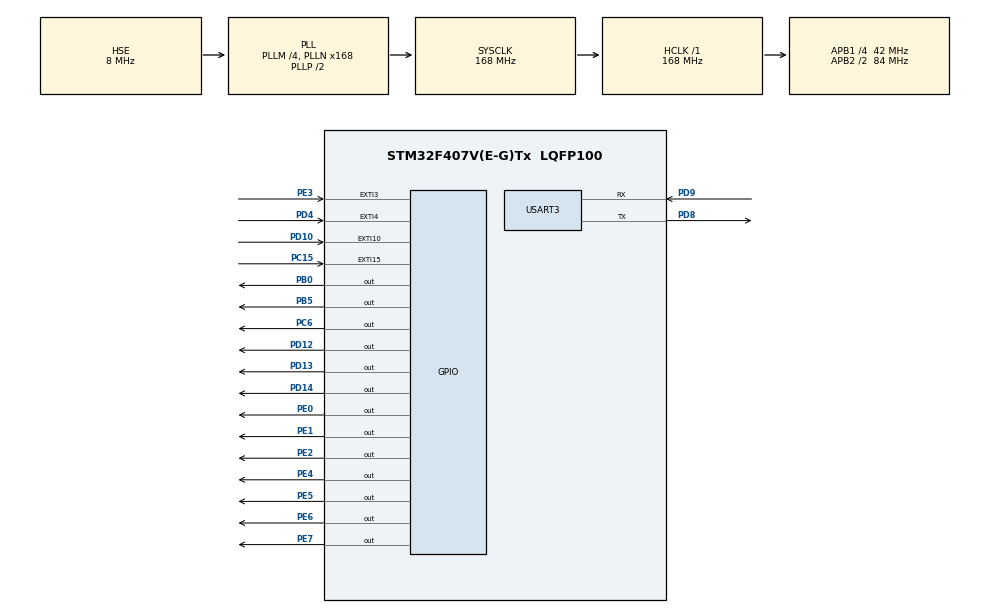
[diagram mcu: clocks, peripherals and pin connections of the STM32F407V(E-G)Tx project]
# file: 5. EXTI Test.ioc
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Mcu.Family=STM32F4
Mcu.Name=STM32F407V(E-G)Tx
Mcu.Package=LQFP100
NVIC.EXTI15_10_IRQn=true\:0\:0\:false\:true\:true\:5\:true
NVIC.EXTI3_IRQn=true\:0\:0\:false\:true\:true\:3\:true
NVIC.EXTI4_IRQn=true\:0\:0\:false\:true\:true\:4\:true
NVIC.PriorityGroup=NVIC_PRIORITYGROUP_4
NVIC.TIM7_IRQn=true\:0\:0\:false\:true\:true\:2\:true
NVIC.USART3_IRQn=true\:0\:0\:false\:true\:true\:1\:true
PB0.Signal=GPIO_Output
PB5.Signal=GPIO_Output
PC15-OSC32_OUT.GPIO_ModeDefaultEXTI=GPIO_MODE_IT_RISING
PC15-OSC32_OUT.Signal=GPXTI15
PC6.Signal=GPIO_Output
PD10.Signal=GPXTI10
PD12.Signal=GPIO_Output
PD13.Signal=GPIO_Output
PD14.Signal=GPIO_Output
PD4.Signal=GPXTI4
PD8.Mode=Asynchronous
PD8.Signal=USART3_TX
PD9.Mode=Asynchronous
PD9.Signal=USART3_RX
PE0.Signal=GPIO_Output
PE1.Signal=GPIO_Output
PE2.Signal=GPIO_Output
PE3.Signal=GPXTI3
PE4.Signal=GPIO_Output
PE5.Signal=GPIO_Output
PE6.Signal=GPIO_Output
PE7.Signal=GPIO_Output
PH0-OSC_IN.Mode=HSE-External-Oscillator
PH0-OSC_IN.Signal=RCC_OSC_IN
PH1-OSC_OUT.Mode=HSE-External-Oscillator
PH1-OSC_OUT.Signal=RCC_OSC_OUT
ProjectManager.HeapSize=0x200
ProjectManager.StackSize=0x400
ProjectManager.TargetToolchain=TrueSTUDIO
RCC.48MHZClocksFreq_Value=84000000
RCC.AHBFreq_Value=168000000
RCC.APB1CLKDivider=RCC_HCLK_DIV4
RCC.APB1Freq_Value=42000000
RCC.APB1TimFreq_Value=84000000
RCC.APB2CLKDivider=RCC_HCLK_DIV2
RCC.APB2Freq_Value=84000000
RCC.APB2TimFreq_Value=168000000
RCC.CortexFreq_Value=168000000
RCC.HCLKFreq_Value=168000000
RCC.HSE_VALUE=8000000
RCC.HSI_VALUE=16000000
RCC.LSE_VALUE=32768
RCC.PLLM=4
RCC.PLLN=168
RCC.PLLSourceVirtual=RCC_PLLSOURCE_HSE
RCC.SYSCLKFreq_VALUE=168000000
RCC.SYSCLKSource=RCC_SYSCLKSOURCE_PLLCLK
RCC.VCOOutputFreq_Value=336000000
TIM7.Period=8399
TIM7.Prescaler=9999
USART3.VirtualMode=VM_ASYNC
VP_TIM7_VS_ClockSourceINT.Mode=Enable_Timer
board=custom

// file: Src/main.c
/**
  ******************************************************************************
  * @file           : main.c
  * @brief          : Main program body
  ******************************************************************************
  ** This notice applies to any and all portions of this file
  * that are not between comment pairs USER CODE BEGIN and
  * USER CODE END. Other portions of this file, whether
  * inserted by the user or by software development tools
  * are owned by their respective copyright owners.
  *
  * COPYRIGHT(c) 2018 STMicroelectronics
  *
  * Redistribution and use in source and binary forms, with or without modification,
  * are permitted provided that the following conditions are met:
  *   1. Redistributions of source code must retain the above copyright notice,
  *      this list of conditions and the following disclaimer.
  *   2. Redistributions in binary form must reproduce the above copyright notice,
  *      this list of conditions and the following disclaimer in the documentation
  *      and/or other materials provided with the distribution.
  *   3. Neither the name of STMicroelectronics nor the names of its contributors
  *      may be used to endorse or promote products derived from this software
  *      without specific prior written permission.
  *
  * THIS SOFTWARE IS PROVIDED BY THE COPYRIGHT HOLDERS AND CONTRIBUTORS "AS IS"
  * AND ANY EXPRESS OR IMPLIED WARRANTIES, INCLUDING, BUT NOT LIMITED TO, THE
  * IMPLIED WARRANTIES OF MERCHANTABILITY AND FITNESS FOR A PARTICULAR PURPOSE ARE
  * DISCLAIMED. IN NO EVENT SHALL THE COPYRIGHT HOLDER OR CONTRIBUTORS BE LIABLE
  * FOR ANY DIRECT, INDIRECT, INCIDENTAL, SPECIAL, EXEMPLARY, OR CONSEQUENTIAL
  * DAMAGES (INCLUDING, BUT NOT LIMITED TO, PROCUREMENT OF SUBSTITUTE GOODS OR
  * SERVICES; LOSS OF USE, DATA, OR PROFITS; OR BUSINESS INTERRUPTION) HOWEVER
  * CAUSED AND ON ANY THEORY OF LIABILITY, WHETHER IN CONTRACT, STRICT LIABILITY,
  * OR TORT (INCLUDING NEGLIGENCE OR OTHERWISE) ARISING IN ANY WAY OUT OF THE USE
  * OF THIS SOFTWARE, EVEN IF ADVISED OF THE POSSIBILITY OF SUCH DAMAGE.
  *
  ******************************************************************************
  */
#include "main.h"
#include "stm32f4xx_hal.h"
#include "tim.h"
#include "usart.h"
#include "gpio.h"

/* USER CODE BEGIN Includes */
#include "CLCD.h"
#include <stdio.h>
#include "7SEG.h"
/* USER CODE END Includes */

/* USER CODE BEGIN PV */
/* Private variables ---------------------------------------------------------*/
uint8_t rx3_data;
/* USER CODE END PV */

void SystemClock_Config(void);
static void MX_NVIC_Init(void);

/* USER CODE BEGIN PFP */
/* Private function prototypes -----------------------------------------------*/
int _write(int file, char* p, int len)
{
	HAL_UART_Transmit(&huart3, p, len, 10);
	return len;
}
/* USER CODE END PFP */

int main(void)
{

  /* MCU Configuration----------------------------------------------------------*/

  /* Reset of all peripherals, Initializes the Flash interface and the Systick. */
  HAL_Init();

  /* Configure the system clock */
  SystemClock_Config();

  /* Initialize all configured peripherals */
  MX_GPIO_Init();
  MX_USART3_UART_Init();
  MX_TIM7_Init();

  /* Initialize interrupts */
  MX_NVIC_Init();
  /* USER CODE BEGIN 2 */
	HAL_GPIO_WritePin(GPIOC, GPIO_PIN_6, GPIO_PIN_SET);
	HAL_GPIO_WritePin(GPIOB, GPIO_PIN_0, GPIO_PIN_SET);
	HAL_GPIO_WritePin(GPIOB, GPIO_PIN_5, GPIO_PIN_SET);

	HAL_GPIO_WritePin(GPIOD, GPIO_PIN_12, GPIO_PIN_SET);
	HAL_GPIO_WritePin(GPIOD, GPIO_PIN_13, GPIO_PIN_SET);
	HAL_GPIO_WritePin(GPIOD, GPIO_PIN_14, GPIO_PIN_SET);

	HAL_UART_Receive_IT(&huart3, &rx3_data, 1);
	HAL_TIM_Base_Start_IT(&htim7);

	CLCD_GPIO_Init();
	CLCD_Init();
	CLCD_Puts(0, 0, "Welcome to");
	CLCD_Puts(0, 1, "M-HIVE");
	CLCD_Clear();

	_7SEG_GPIO_Init();
  /* USER CODE END 2 */

  /* Infinite loop */
  /* USER CODE BEGIN WHILE */
	uint8_t a = 0;
	float f = 1.234;
	uint8_t str[20];
  while (1)
  {
  /* USER CODE END WHILE */

  }

}

void SystemClock_Config(void)
{

  RCC_OscInitTypeDef RCC_OscInitStruct;
  RCC_ClkInitTypeDef RCC_ClkInitStruct;

    /**Configure the main internal regulator output voltage
    */
  __HAL_RCC_PWR_CLK_ENABLE();

  __HAL_PWR_VOLTAGESCALING_CONFIG(PWR_REGULATOR_VOLTAGE_SCALE1);

    /**Initializes the CPU, AHB and APB busses clocks
    */
  RCC_OscInitStruct.OscillatorType = RCC_OSCILLATORTYPE_HSE;
  RCC_OscInitStruct.HSEState = RCC_HSE_ON;
  RCC_OscInitStruct.PLL.PLLState = RCC_PLL_ON;
  RCC_OscInitStruct.PLL.PLLSource = RCC_PLLSOURCE_HSE;
  RCC_OscInitStruct.PLL.PLLM = 4;
  RCC_OscInitStruct.PLL.PLLN = 168;
  RCC_OscInitStruct.PLL.PLLP = RCC_PLLP_DIV2;
  RCC_OscInitStruct.PLL.PLLQ = 4;
  if (HAL_RCC_OscConfig(&RCC_OscInitStruct) != HAL_OK)
  {
    _Error_Handler(__FILE__, __LINE__);
  }

    /**Initializes the CPU, AHB and APB busses clocks
    */
  RCC_ClkInitStruct.ClockType = RCC_CLOCKTYPE_HCLK|RCC_CLOCKTYPE_SYSCLK
                              |RCC_CLOCKTYPE_PCLK1|RCC_CLOCKTYPE_PCLK2;
  RCC_ClkInitStruct.SYSCLKSource = RCC_SYSCLKSOURCE_PLLCLK;
  RCC_ClkInitStruct.AHBCLKDivider = RCC_SYSCLK_DIV1;
  RCC_ClkInitStruct.APB1CLKDivider = RCC_HCLK_DIV4;
  RCC_ClkInitStruct.APB2CLKDivider = RCC_HCLK_DIV2;

  if (HAL_RCC_ClockConfig(&RCC_ClkInitStruct, FLASH_LATENCY_5) != HAL_OK)
  {
    _Error_Handler(__FILE__, __LINE__);
  }

    /**Configure the Systick interrupt time
    */
  HAL_SYSTICK_Config(HAL_RCC_GetHCLKFreq()/1000);

    /**Configure the Systick
    */
  HAL_SYSTICK_CLKSourceConfig(SYSTICK_CLKSOURCE_HCLK);

  /* SysTick_IRQn interrupt configuration */
  HAL_NVIC_SetPriority(SysTick_IRQn, 0, 0);
}

/**
  * @brief NVIC Configuration.
  * @retval None
  */
static void MX_NVIC_Init(void)
{
  /* USART3_IRQn interrupt configuration */
  HAL_NVIC_SetPriority(USART3_IRQn, 0, 0);
  HAL_NVIC_EnableIRQ(USART3_IRQn);
  /* TIM7_IRQn interrupt configuration */
  HAL_NVIC_SetPriority(TIM7_IRQn, 0, 0);
  HAL_NVIC_EnableIRQ(TIM7_IRQn);
  /* EXTI3_IRQn interrupt configuration */
  HAL_NVIC_SetPriority(EXTI3_IRQn, 0, 0);
  HAL_NVIC_EnableIRQ(EXTI3_IRQn);
  /* EXTI4_IRQn interrupt configuration */
  HAL_NVIC_SetPriority(EXTI4_IRQn, 0, 0);
  HAL_NVIC_EnableIRQ(EXTI4_IRQn);
  /* EXTI15_10_IRQn interrupt configuration */
  HAL_NVIC_SetPriority(EXTI15_10_IRQn, 0, 0);
  HAL_NVIC_EnableIRQ(EXTI15_10_IRQn);
}

/* USER CODE BEGIN 4 */
void HAL_UART_RxCpltCallback(UART_HandleTypeDef *huart)
{
	if(huart->Instance == USART3)
	{
		HAL_UART_Receive_IT(&huart3, &rx3_data, 1);
		HAL_UART_Transmit(&huart3, &rx3_data, 1, 10);
	}
}

void HAL_TIM_PeriodElapsedCallback(TIM_HandleTypeDef *htim)
{
	static unsigned char cnt = 0;
	if(htim->Instance == TIM7)
	{
		cnt++;
	}
}

void HAL_GPIO_EXTI_Callback(uint16_t GPIO_Pin)
{
	if(GPIO_Pin == GPIO_PIN_3)
	{
		HAL_GPIO_TogglePin(GPIOD, GPIO_PIN_12);
	}

	if(GPIO_Pin == GPIO_PIN_15)
	{
		HAL_GPIO_TogglePin(GPIOD, GPIO_PIN_13);
	}

	if(GPIO_Pin == GPIO_PIN_4)
	{
		HAL_GPIO_TogglePin(GPIOD, GPIO_PIN_14);
	}

	if(GPIO_Pin == GPIO_PIN_10)
	{
		HAL_GPIO_TogglePin(GPIOB, GPIO_PIN_0);
	}
}
/* USER CODE END 4 */

void _Error_Handler(char *file, int line)
{
  while(1)
  {
  }
}

/************************ (C) COPYRIGHT STMicroelectronics *****END OF FILE****/
